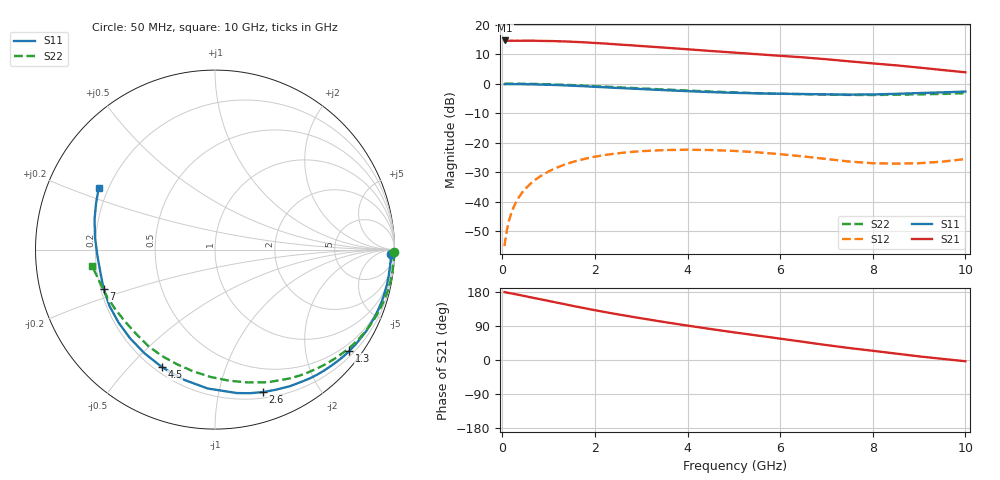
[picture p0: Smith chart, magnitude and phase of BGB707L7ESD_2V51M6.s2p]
!  Infineon Technologies AG
!  BGB707L7ESD
!  Vce = 2.5V, Ic = 1.6mA
!  DATUM: 30.06.2009 10:16:15
# GHz  S  MA  R  50
!f  S11  S21  S12  S22
!GHz  Mag  Ang  Mag  Ang  Mag  Ang  Mag  Ang
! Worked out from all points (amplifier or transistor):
!   52 points, 50 MHz to 10 GHz, reference 50 ohm
!   highest |S21| = 14.6 dB at 60 MHz (marker M1)
!   |S21| within 3 dB of that: start of sweep to 4.012 GHz
!   unconditionally stable (mu >= 1): 7.218 GHz to end of sweep
!   at 130 MHz: K = 0.00, MSG = 31.0 dB, |S12| = -47.4 dB
!   at 1.4 GHz: K = 0.04, MSG = 20.7 dB, |S12| = -27.1 dB
!   at 10 GHz: K = 1.20, MAG = 12.0 dB, |S12| = -25.5 dB
!   S11 on the Smith chart (normalised r, x): 50 MHz: 39, -46; 1.3 GHz: 0.32, -2.96; 2.6 GHz: 0.26, -1.36; 4.5 GHz: 0.23, -0.62; 7 GHz: 0.21, -0.16; 10 GHz: 0.16, +0.24
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0.05  0.9787 -1.5  5.273 179.1  0.001775 96.2  0.9986 -0.9
0.06  0.983 -1.7  5.374 178.9  0.002193 87.1  0.9992 -1.2
0.08  0.9764 -2.2  5.282 178.1  0.002644 88.3  0.9991 -1.7
0.09  0.9827 -2.8  5.331 178.5  0.00295 89.7  0.9994 -1.9
0.1  0.9796 -3.0  5.304 177.7  0.00338 87.5  0.9989 -2.1
0.2  0.9804 -5.8  5.328 175.7  0.006605 86.1  0.9981 -4.3
0.45  0.9763 -12.8  5.326 169.5  0.01504 81.4  0.9942 -9.5
0.8  0.9656 -22.7  5.289 160.9  0.02637 73.9  0.9833 -17.0
1.3  0.9374 -37.0  5.192 148.5  0.04132 63.3  0.9572 -27.5
1.8  0.8999 -50.7  4.985 136.2  0.0538 53.2  0.9212 -37.7
2.2  0.8678 -61.3  4.777 126.9  0.06166 45.7  0.8898 -45.4
2.6  0.8373 -71.5  4.541 118.3  0.0676 38.8  0.8588 -52.7
3  0.8088 -81.3  4.324 110.1  0.07191 32.5  0.8302 -59.8
3.5  0.7749 -93.0  4.068 100.1  0.0751 25.2  0.7961 -68.1
4  0.7449 -103.9  3.811 90.7  0.07606 18.7  0.7632 -76.0
4.5  0.7186 -114.3  3.567 81.8  0.07517 13.0  0.7347 -83.8
5.5  0.6839 -133.9  3.146 64.7  0.06882 4.1  0.6894 -100.0
6.5  0.6665 -151.9  2.78 47.9  0.05862 0.2  0.6626 -116.5
7  0.6581 -160.7  2.585 39.4  0.05302 0.8  0.6529 -124.9
8.5  0.6717 174.3  2.039 17.0  0.04428 17.2  0.6481 -149.6
9  0.6919 165.9  1.867 9.5  0.04497 24.0  0.658 -157.9
10  0.7337 152.0  1.554 -3.3  0.05295 35.1  0.6902 -172.3
